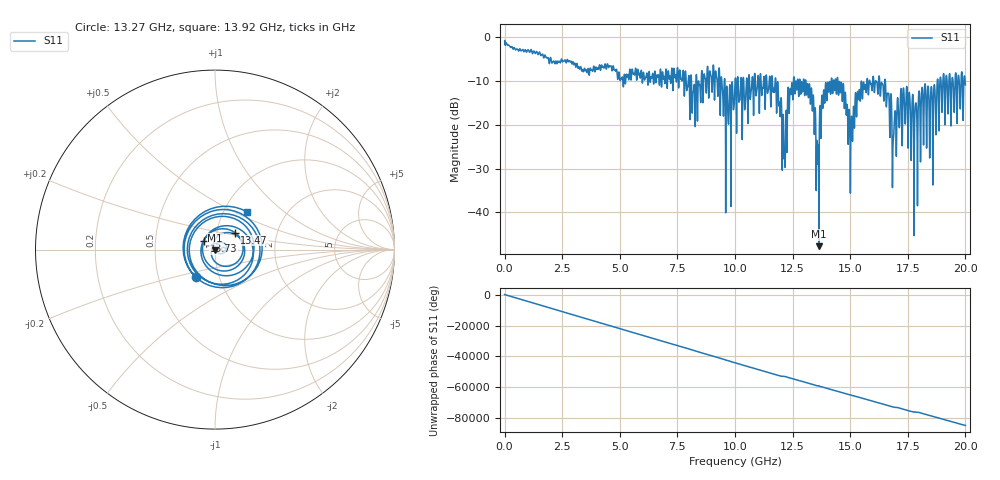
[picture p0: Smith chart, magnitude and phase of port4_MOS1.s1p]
! MS46122B
! 2250307/22442219
! 6/15/2025 11:03:41 AM
! C:\USERS\SPARKY\DOCUMENTS\VNA_DATA\JUNE15_2025\295K\PORT4_MOS1.S1P
! CHANNEL.1
! TR.MEASUREMENT
! RAW.DATA
# GHZ S RI R 50.0
! FREQ.GHZ  S11RE  S11IM
!; PortSelection: Port_1
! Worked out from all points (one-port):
!   10001 points, 1 MHz to 20 GHz, reference 50 ohm
!   lowest |S11| = -47.7 dB at 13.64 GHz (marker M1), VSWR 1.01, Z = 50.1 - j0.404 ohm
!   |S11| at or under -10 dB: 13.07 GHz to 14.18 GHz (1.102 GHz wide, 8.09 % of centre); 14.46 GHz to 15.48 GHz (1.019 GHz wide, 6.81 % of centre); 16.53 GHz to 18.78 GHz (2.254 GHz wide, 12.8 % of centre) (the widest 3 of 72)
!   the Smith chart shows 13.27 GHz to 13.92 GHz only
!   S11 on the Smith chart (normalised r, x): 13.27 GHz: 0.77, -0.25; 13.47 GHz: 1.22, +0.24; 13.73 GHz: 0.88, +0.08; 13.92 GHz: 1.29, +0.59
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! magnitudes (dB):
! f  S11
! 1 MHz  -1.0
! 2.501 GHz  -5.4
! 5.001 GHz  -9.5
! 7.501 GHz  -7.0
! 8.207 GHz  -11.9
! 8.989 GHz  -10.8
! 10 GHz  -10.4
! 11.68 GHz  -11.6
! 12.13 GHz  -26.7
! 12.5 GHz  -13.7
! 13.27 GHz  -14.5
! 13.47 GHz  -16.7
! 13.55 GHz  -23.7
! 13.64 GHz  -47.7
! 13.73 GHz  -22.2
! 13.92 GHz  -11.2
! 14.62 GHz  -10.5
! 15 GHz  -28.0
! 15.66 GHz  -10.9
! 16.44 GHz  -12.8
! 16.91 GHz  -19.5
! 17.13 GHz  -20.6
! 17.5 GHz  -20.9
! 17.85 GHz  -15.0
! 18.18 GHz  -24.6
! 18.52 GHz  -11.3
! 18.98 GHz  -17.0
! 20 GHz  -10.9
